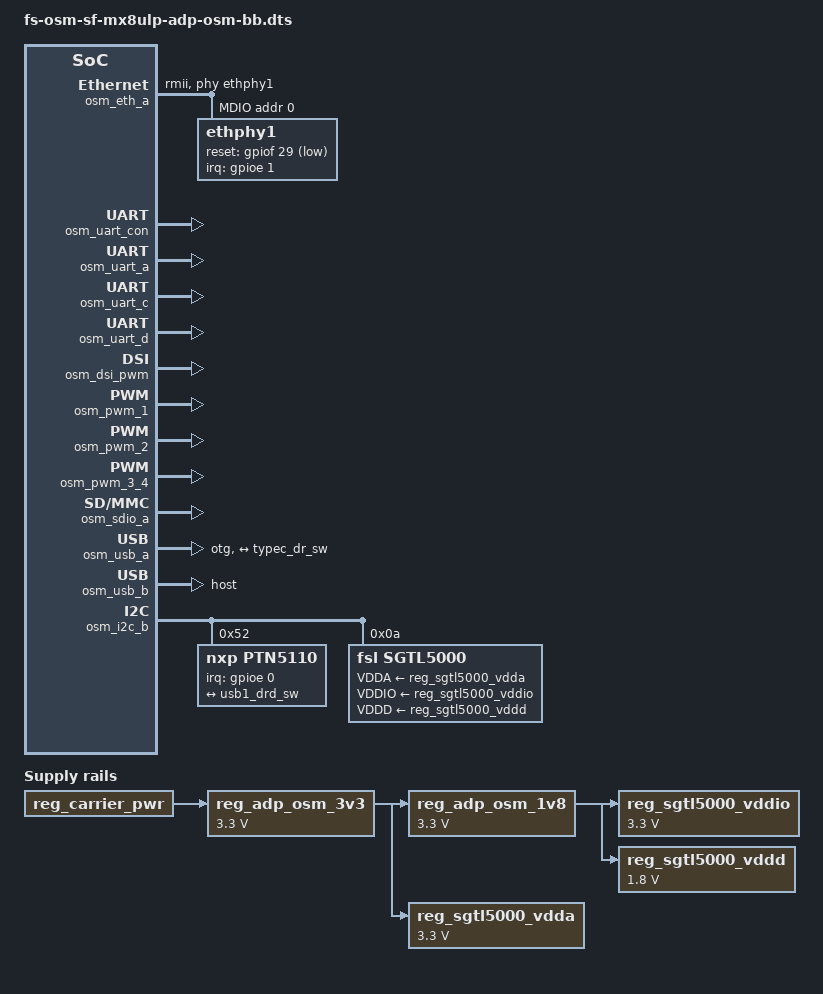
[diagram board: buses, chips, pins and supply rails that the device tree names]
// SPDX-License-Identifier: GPL-2.0
/*
* Copyright 2024 F&S Elektronik Systeme GmbH
*
* This program is free software; you can redistribute it and/or modify
* it under the terms of the GNU General Public License version 2 as
* published by the Free Software Foundation.
*
* This program is distributed in the hope that it will be useful,
* but WITHOUT ANY WARRANTY; without even the implied warranty of
* MERCHANTABILITY or FITNESS FOR A PARTICULAR PURPOSE.  See the
* GNU General Public License for more details.
*/

#define OSM8ULP_REV 110

/dts-v1/;
#include <dt-bindings/usb/pd.h>
#include "fs-osm-sf-mx8ulp.dtsi"

/ {
	carrier_regulators{
		compatible = "simple-bus";
		#address-cells = <1>;
		#size-cells = <0>;

		reg_adp_osm_3v3: regulator_adp_osm_3v3@0 {
			compatible = "regulator-fixed";
			reg = <0>;
			regulator-name = "ADP-OSM-3V3";
			regulator-min-microvolt = <3300000>;
			regulator-max-microvolt = <3300000>;
			vin-supply = <&reg_carrier_pwr>;
			regulator-always-on;
			regulator-boot-on;
		};

		reg_adp_osm_1v8: regulator_adp_osm_1v8@1 {
			compatible = "regulator-fixed";
			reg = <1>;
			regulator-name = "ADP-OSM-1V8";
			regulator-min-microvolt = <3300000>;
			regulator-max-microvolt = <3300000>;
			vin-supply = <&reg_adp_osm_3v3>;
			regulator-always-on;
			regulator-boot-on;
		};

		/* SGTL5000 analog voltage */
		reg_sgtl5000_vdda: sgtl5000_vdda {
			compatible = "regulator-fixed";
			regulator-name = "SGTL5000-VDDA-supply";
			regulator-min-microvolt = <3300000>;
			regulator-max-microvolt = <3300000>;
			vin-supply = <&reg_adp_osm_3v3>;
			regulator-always-on;
			regulator-boot-on;
		};

		/* SGTL5000 I/O voltage */
		reg_sgtl5000_vddio: sgtl5000_vddio {
			compatible = "regulator-fixed";
			regulator-name = "VDDIO-supply";
			regulator-min-microvolt = <3300000>;
			regulator-max-microvolt = <3300000>;
			vin-supply = <&reg_adp_osm_1v8>;
			regulator-always-on;
			regulator-boot-on;
		};

		/* SGTL5000 internal digital voltage */
		reg_sgtl5000_vddd: sgtl5000_vddd {
			compatible = "regulator-fixed";
			regulator-name = "VDDD-supply";
			regulator-min-microvolt = <1800000>;
			regulator-max-microvolt = <1800000>;
			vin-supply = <&reg_adp_osm_1v8>;
			regulator-always-on;
			regulator-boot-on;
		};
	};
};

/* osm_eth_a example */
&osm_eth_a {
	phy-mode = "rmii";
	phy-handle = <&ethphy1>;
	status = "okay";
	mdio {
		status = "okay";
		ethphy1: ethphy1@0 {
			reg = <0>;
			interrupt-parent = <&gpioe>;
			interrupts = <1 IRQ_TYPE_EDGE_FALLING>;
			reset-assert-us = <15000>;
			reset-deassert-us = <100000>;
			reset-gpios = <&gpiof 29 GPIO_ACTIVE_LOW>;
		};
	};
};

&osm_uart_con {
	status = "okay";
};

&osm_uart_a {
	status = "okay";
};

&osm_uart_c {
	status = "okay";
};

&osm_uart_d {
	status = "okay";
};

&osm_dsi_pwm {
	status = "okay";
};

&osm_pwm_1 {
	status = "okay";
};

&osm_pwm_2 {
	status = "okay";
};

&osm_pwm_3_4 {
	status = "okay";
};

&osm_sdio_a {
	status = "okay";
};

/ {
	rpmsg_audio: rpmsg-audio {
			compatible = "fsl,imx8ulp-rpmsg-audio";
			model = "sgtl5000-audio";
			fsl,rpmsg-out;
			fsl,rpmsg-in;
			audio-codec = <&sgtl5000>;
			memory-region = <&audio_reserved>;
			audio-routing =
				"Capture Mux", "LINE_IN",
				"Capture Mux", "MIC_IN",
				"ADC", "Capture Mux",
				"DAP", "ADC",
				"Digital Input Mux", "DAP",
				"DAC", "Digital Input Mux",
				"Headphone Mux", "DAC",
				"HP_OUT", "Headphone Mux",
				"LO", "DAC",
				"LINE_OUT", "LO";

			status = "okay";
	};
};

&osm_usb_a {
	dr_mode = "otg";
	hnp-disable;
	srp-disable;
	adp-disable;
	disable-over-current;
	usb-role-switch;
	status = "okay";

	port {
		usb1_drd_sw: endpoint {
			remote-endpoint = <&typec_dr_sw>;
		};
	};
};

&osm_usb_b {
	dr_mode = "host";
	power-active-high;
	disable-over-current;
	status = "okay";
};

&osm_i2c_b {
	ptn5110: tcpc@52 {
		compatible = "nxp,ptn5110";
		reg = <0x52>;
		interrupt-parent = <&gpioe>;
		interrupts = <0 IRQ_TYPE_EDGE_FALLING>;

		port {
			typec_dr_sw: endpoint {
				remote-endpoint = <&usb1_drd_sw>;
			};
		};

		usb_con: connector {
			compatible = "usb-c-connector";
			label = "USB-C";
			power-role = "dual";
			data-role = "dual";
			try-power-role = "sink";
			source-pdos = <PDO_FIXED(5000, 3000,
			PDO_FIXED_USB_COMM)>;
			sink-pdos = <PDO_FIXED(5000, 3000, PDO_FIXED_USB_COMM)
				     PDO_VAR(5000, 20000, 3000)>;
			op-sink-microwatt = <15000000>;
			self-powered;
		};
	};

	sgtl5000: sgtl5000@a {
 		compatible = "fsl,sgtl5000";
 		reg = <0x0a>;
 		mono2both;
		clocks = <&sgtl5000_mclk>;
		VDDA-supply = <&reg_sgtl5000_vdda>;
 		VDDIO-supply = <&reg_sgtl5000_vddio>;
 		VDDD-supply = <&reg_sgtl5000_vddd>;
		status = "okay";
 	};
};

&pinctrl_enet {
	fsl,pins = <
			MX8ULP_PAD_PTE3__ENET0_TXCLK	0x43
			MX8ULP_PAD_PTE14__ENET0_MDIO	0x43
			MX8ULP_PAD_PTE15__ENET0_MDC	0x43
			MX8ULP_PAD_PTE16__ENET0_TXEN	0x43
			MX8ULP_PAD_PTE17__ENET0_RXER	0x43
			MX8ULP_PAD_PTE18__ENET0_CRS_DV	0x42 //PHYAD[1:0]
			MX8ULP_PAD_PTE19__ENET0_REFCLK	0x42 //PHYAD[2]
			MX8ULP_PAD_PTE20__ENET0_RXD1	0x43
			MX8ULP_PAD_PTE21__ENET0_RXD0	0x43
			MX8ULP_PAD_PTE22__ENET0_TXD1	0x43
			MX8ULP_PAD_PTE23__ENET0_TXD0	0x43
		>;
};

&pinctrl_gpioe {
	fsl,pins = <
			MX8ULP_PAD_PTE0__PTE0		0x2
			MX8ULP_PAD_PTE1__PTE1		0x3 // INT-ethphy1
			MX8ULP_PAD_PTE2__PTE2		0x2
			MX8ULP_PAD_PTE4__PTE4		0x2
			MX8ULP_PAD_PTE5__PTE5		0x2
		>;
};

&pinctrl_gpiof {
	fsl,pins = <
			MX8ULP_PAD_PTF2__PTF2		0x2
			MX8ULP_PAD_PTF3__PTF3		0x3
			MX8ULP_PAD_PTF4__PTF4		0x2
			MX8ULP_PAD_PTF29__PTF29		0x3 // reset-ethphy1
			MX8ULP_PAD_PTF30__PTF30		0x2
			MX8ULP_PAD_PTF31__PTF31		0x2
		>;
};
